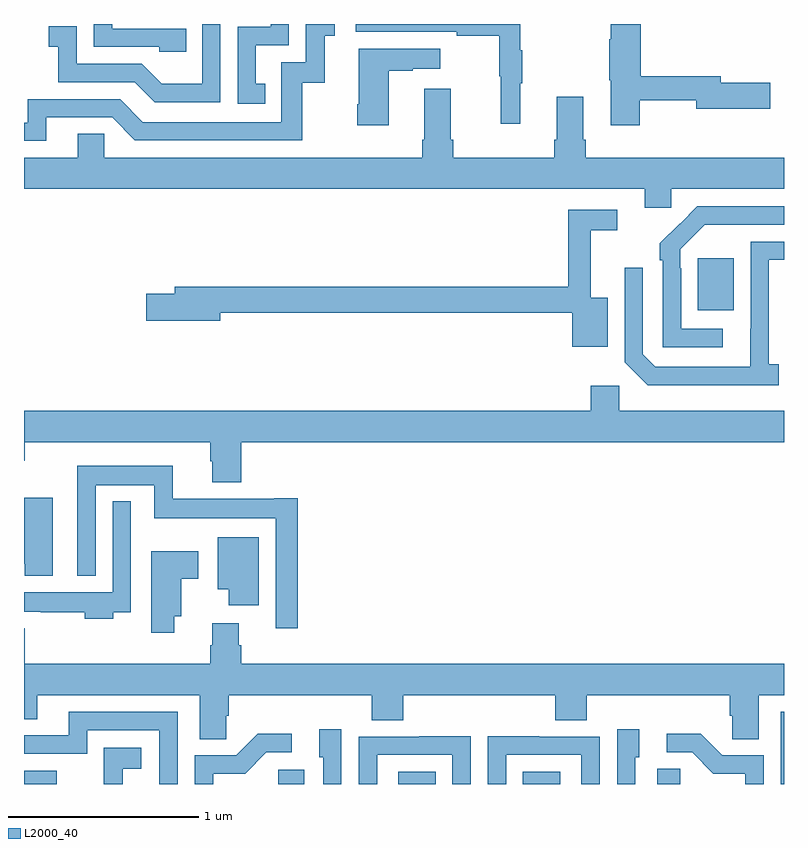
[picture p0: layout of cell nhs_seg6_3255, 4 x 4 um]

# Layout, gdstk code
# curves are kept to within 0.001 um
import gdstk
lib = gdstk.Library(unit=1e-6, precision=1e-09)
def R(c, l, rs):  # rectangles x0, y0, x1, y1
    for r in rs: c.add(gdstk.rectangle(r[:2], r[2:], *l))
def P(c, l, *ps):  # polygons
    for p in ps: c.add(gdstk.Polygon(p, *l))
L2000_40 = (2000, 40)

nhs_seg6_3255 = lib.new_cell('nhs_seg6_3255')
R(nhs_seg6_3255, L2000_40, [(301,981.5,301.173,981.57), (302.337,981.5,302.476,981.574), (302.969,981.5,303.166,981.565), (303.626,981.5,303.823,981.565), (304.334,981.5,304.455,981.581), (304.983,981.5,305,981.879), (304.547,983.993,304.735,984.268)])
P(nhs_seg6_3255, L2000_40, [(301.853,985.476),(301.464,985.476),(301.464,985.5),(301.368,985.5),(301.368,985.38),(301.713,985.38),(301.713,985.353),(301.853,985.353)],
  [(301.117,985.008),(301.464,985.008),(301.584,984.888),(302.464,984.888),(302.464,985.191),(302.582,985.191),(302.582,985.437),(302.635,985.437),(302.635,985.5),(302.484,985.5),(302.484,985.299),(302.355,985.299),(302.355,984.984),(301.626,984.984),(301.506,985.104),(301.02,985.104),(301.02,984.981),(301,984.981),(301,984.885),(301.117,984.885)],
  [(304.242,985.098),(304.538,985.098),(304.538,985.055),(304.927,985.055),(304.927,985.19),(304.666,985.19),(304.666,985.226),(304.247,985.226),(304.247,985.5),(304.088,985.5),(304.088,985.421),(304.081,985.421),(304.081,985.203),(304.088,985.203),(304.088,984.966),(304.242,984.966)],
  [(302.27,985.185),(302.221,985.185),(302.221,985.389),(302.394,985.389),(302.394,985.5),(302.298,985.5),(302.298,985.485),(302.124,985.485),(302.124,985.08),(302.27,985.08)],
  [(302.034,985.5),(301.938,985.5),(301.938,985.186),(301.724,985.186),(301.62,985.29),(301.278,985.29),(301.278,985.489),(301.131,985.489),(301.131,985.379),(301.18,985.379),(301.18,985.194),(301.583,985.194),(301.688,985.089),(302.034,985.089)],
  [(303.611,985.187),(303.622,985.187),(303.622,985.361),(303.611,985.361),(303.611,985.5),(302.745,985.5),(302.745,985.458),(303.277,985.458),(303.277,985.438),(303.501,985.438),(303.501,985.224),(303.508,985.224),(303.508,984.975),(303.611,984.975)],
  [(302.92,985.255),(303.047,985.255),(303.047,985.265),(303.19,985.265),(303.19,985.369),(302.762,985.369),(302.762,985.078),(302.755,985.078),(302.755,984.966),(302.92,984.966)],
  [(304.407,984.632),(305,984.632),(305,984.796),(303.956,984.796),(303.956,984.892),(303.943,984.892),(303.943,985.117),(303.803,985.117),(303.803,984.892),(303.791,984.892),(303.791,984.796),(303.26,984.796),(303.26,984.892),(303.247,984.892),(303.247,985.159),(303.107,985.159),(303.107,984.892),(303.095,984.892),(303.095,984.796),(301.422,984.796),(301.422,984.923),(301.283,984.923),(301.283,984.796),(301,984.796),(301,984.632),(304.268,984.632),(304.268,984.534),(304.407,984.534)],
  [(304.678,983.895),(304.458,983.895),(304.458,984.215),(304.455,984.215),(304.455,984.315),(304.584,984.444),(305,984.444),(305,984.54),(304.544,984.54),(304.347,984.345),(304.347,984.257),(304.362,984.257),(304.362,983.799),(304.678,983.799)],
  [(304.072,984.058),(303.983,984.058),(303.983,984.414),(304.123,984.414),(304.123,984.522),(303.865,984.522),(303.865,984.116),(301.793,984.116),(301.793,984.08),(301.644,984.08),(301.644,983.938),(302.032,983.938),(302.032,983.98),(303.885,983.98),(303.885,983.801),(304.072,983.801)],
  [(304.972,983.71),(304.92,983.71),(304.92,984.258),(305,984.258),(305,984.354),(304.824,984.354),(304.823,983.697),(304.323,983.697),(304.257,983.763),(304.257,984.217),(304.161,984.217),(304.161,983.721),(304.282,983.6),(304.972,983.6)],
  [(302.144,983.3),(305,983.3),(305,983.464),(304.134,983.464),(304.134,983.596),(303.983,983.596),(303.983,983.464),(301,983.464),(301,983.201),(301.004,983.201),(301.004,983.3),(301.979,983.3),(301.979,983.199),(301.991,983.199),(301.991,983.087),(302.144,983.087)],
  [(302.441,983.005),(302.318,983.005),(302.318,983.002),(301.784,983.002),(301.784,983.176),(301.28,983.176),(301.28,982.595),(301.377,982.595),(301.377,983.072),(301.686,983.072),(301.686,982.898),(302.325,982.898),(302.325,982.32),(302.441,982.32)],
  [(301.15,983.007),(301,983.007),(301,982.659),(301.004,982.659),(301.004,982.596),(301.15,982.596)],
  [(301.471,982.404),(301.563,982.404),(301.563,982.987),(301.467,982.987),(301.467,982.51),(301,982.51),(301,982.406),(301.087,982.406),(301.087,982.404),(301.319,982.404),(301.319,982.37),(301.471,982.37)],
  [(302.236,982.798),(302.021,982.798),(302.021,982.526),(302.078,982.526),(302.078,982.44),(302.236,982.44)],
  [(301.792,982.382),(301.828,982.382),(301.828,982.579),(301.918,982.579),(301.918,982.726),(301.67,982.726),(301.67,982.296),(301.792,982.296)],
  [(302.064,981.859),(302.078,981.859),(302.078,981.968),(302.831,981.968),(302.831,981.835),(302.996,981.835),(302.996,981.968),(303.797,981.968),(303.797,981.835),(303.962,981.835),(303.962,981.968),(304.715,981.968),(304.715,981.859),(304.728,981.859),(304.728,981.736),(304.867,981.736),(304.867,981.968),(305,981.968),(305,982.132),(302.144,982.132),(302.144,982.23),(302.131,982.23),(302.131,982.345),(301.991,982.345),(301.991,982.23),(301.979,982.23),(301.979,982.132),(301.004,982.132),(301.004,982.321),(301,982.321),(301,981.841),(301.069,981.841),(301.069,981.968),(301.925,981.968),(301.925,981.736),(302.064,981.736)],
  [(301.809,981.879),(301.235,981.879),(301.235,981.756),(301,981.756),(301,981.66),(301.332,981.66),(301.332,981.783),(301.713,981.783),(301.713,981.5),(301.809,981.5)],
  [(302.67,981.787),(302.555,981.787),(302.555,981.642),(302.574,981.642),(302.574,981.5),(302.67,981.5)],
  [(304.218,981.642),(304.237,981.642),(304.237,981.787),(304.122,981.787),(304.122,981.5),(304.218,981.5)],
  [(304.893,981.651),(304.674,981.651),(304.561,981.764),(304.383,981.764),(304.383,981.666),(304.517,981.666),(304.628,981.555),(304.797,981.555),(304.797,981.5),(304.893,981.5)],
  [(301.995,981.555),(302.164,981.555),(302.275,981.666),(302.41,981.666),(302.41,981.764),(302.231,981.764),(302.118,981.651),(301.899,981.651),(301.899,981.5),(301.995,981.5)],
  [(302.859,981.654),(303.255,981.654),(303.255,981.5),(303.351,981.5),(303.351,981.752),(303.079,981.752),(303.079,981.75),(302.763,981.75),(302.763,981.5),(302.859,981.5)],
  [(303.537,981.654),(303.933,981.654),(303.933,981.5),(304.029,981.5),(304.029,981.75),(303.713,981.75),(303.713,981.752),(303.441,981.752),(303.441,981.5),(303.537,981.5)],
  [(301.52,981.581),(301.618,981.581),(301.618,981.691),(301.42,981.691),(301.42,981.5),(301.52,981.5)])

lib.write_gds('nhs_seg6_3255.gds')
